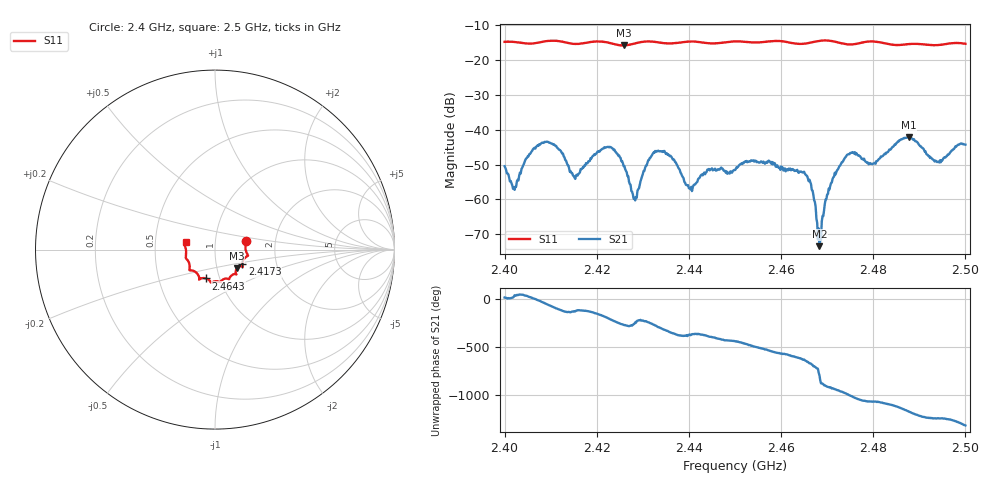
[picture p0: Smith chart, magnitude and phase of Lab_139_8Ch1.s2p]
# Hz S RI R 50
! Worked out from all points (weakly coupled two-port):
!   601 points, 2.4 GHz to 2.5 GHz, reference 50 ohm
!   highest |S21| = -42.22 dB at 2.4877 GHz (marker M1); lowest = -73.4 dB at 2.4683 GHz (marker M2)
!   lowest |S11| = -15.9 dB at 2.4258 GHz (marker M3), VSWR 1.38, Z = 62.3 - j13.3 ohm
!   |S11| at or under -10 dB: start of sweep to end of sweep
!   S12 and S22 are empty: the file has one direction only
!   S11 on the Smith chart (normalised r, x): 2.4 GHz: 1.41, +0.14; 2.4173 GHz: 1.34, -0.23; 2.4643 GHz: 0.86, -0.28; 2.5 GHz: 0.72, +0.06
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2.4e9  0.1732 0.0494  0.00283 0.000973  0 0  0 0
2.402167e9  0.1745 0.0403  0.00101 0.000934  0 0  0 0
2.405e9  0.1697 0.0135  0.00347 0.00223  0 0  0 0
2.409167e9  0.1823 -0.029  0.00422 -0.00523  0 0  0 0
2.414833e9  0.1598 -0.0543  -0.0013 -0.00178  0 0  0 0
2.416667e9  0.1526 -0.0749  -0.00115 -0.00246  0 0  0 0
2.417333e9  0.1521 -0.0823  -0.00153 -0.00267  0 0  0 0
2.4225e9  0.1486 -0.0933  -0.00545 0.00157  0 0  0 0
2.425833e9  0.1217 -0.1036  -0.000245 0.00299  0 0  0 0
2.428333e9  0.1155 -0.1267  -0.000483 0.000841  0 0  0 0
2.433333e9  0.1127 -0.1366  0.00168 0.0047  0 0  0 0
2.440333e9  0.0795 -0.164  0.00136 -0.000323  0 0  0 0
2.45e9  0.0294 -0.1808  0.000597 -0.00257  0 0  0 0
2.464333e9  -0.0503 -0.1606  -0.000517 0.00246  0 0  0 0
2.466667e9  -0.0764 -0.1599  0.00103 0.000896  0 0  0 0
2.468333e9  -0.0861 -0.1652  7.02e-05 -0.000203  0 0  0 0
2.470833e9  -0.0871 -0.1639  -0.00161 0.000574  0 0  0 0
2.474167e9  -0.0988 -0.134  -0.000582 0.00416  0 0  0 0
2.483333e9  -0.141 -0.0896  0.00484 -0.00099  0 0  0 0
2.487667e9  -0.1589 -0.0524  0.000384 -0.00774  0 0  0 0
2.493833e9  -0.1615 -0.00306  -0.00322 -0.00121  0 0  0 0
2.5e9  -0.1637 0.0419  -0.00362 0.00489  0 0  0 0
